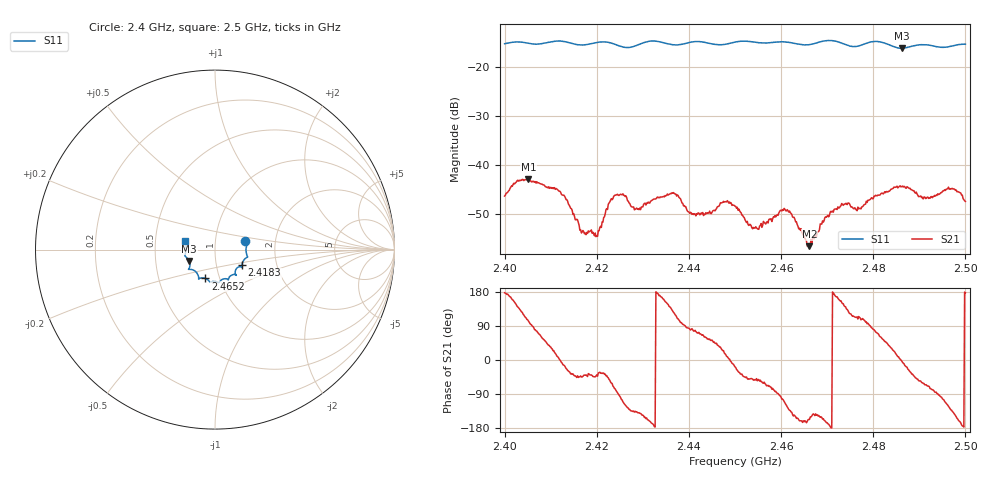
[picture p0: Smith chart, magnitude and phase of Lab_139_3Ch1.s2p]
# Hz S RI R 50
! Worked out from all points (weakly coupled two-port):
!   601 points, 2.4 GHz to 2.5 GHz, reference 50 ohm
!   highest |S21| = -42.86 dB at 2.4052 GHz (marker M1); lowest = -56.6 dB at 2.4662 GHz (marker M2)
!   lowest |S11| = -16.1 dB at 2.4862 GHz (marker M3), VSWR 1.37, Z = 37.2 - j4.86 ohm
!   |S11| at or under -10 dB: start of sweep to end of sweep
!   S12 and S22 are empty: the file has one direction only
!   S11 on the Smith chart (normalised r, x): 2.4 GHz: 1.40, +0.13; 2.4183 GHz: 1.33, -0.24; 2.4652 GHz: 0.85, -0.28; 2.5 GHz: 0.71, +0.07
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2.4e9  0.1682 0.0465  -0.00483 0.000216  0 0  0 0
2.405167e9  0.1753 0.0174  -0.00159 0.00702  0 0  0 0
2.411667e9  0.1818 -0.0403  0.00547 0.000623  0 0  0 0
2.416667e9  0.1551 -0.0678  0.00143 -0.00143  0 0  0 0
2.418333e9  0.1499 -0.0865  0.00166 -0.00125  0 0  0 0
2.42e9  0.1504 -0.0985  0.00147 -0.00119  0 0  0 0
2.424167e9  0.1413 -0.0955  0.000832 -0.00486  0 0  0 0
2.428667e9  0.1126 -0.1247  -0.00264 -0.0025  0 0  0 0
2.433333e9  0.1174 -0.1416  -0.00462 0.000457  0 0  0 0
2.437167e9  0.0894 -0.1443  -0.00233 0.00448  0 0  0 0
2.441167e9  0.0744 -0.1677  0.00074 0.0031  0 0  0 0
2.45e9  0.0257 -0.1797  0.00362 -0.00118  0 0  0 0
2.454667e9  0.0103 -0.1797  0.00149 -0.00173  0 0  0 0
2.461167e9  -0.0299 -0.179  -0.00169 -0.00296  0 0  0 0
2.465167e9  -0.0543 -0.1609  -0.00168 -0.0006  0 0  0 0
2.466167e9  -0.0653 -0.1578  -0.00137 -0.000581  0 0  0 0
2.466667e9  -0.0707 -0.1575  -0.00135 -0.000849  0 0  0 0
2.471167e9  -0.0911 -0.1638  -0.0034 2.16e-05  0 0  0 0
2.483333e9  -0.1411 -0.0967  0.00422 0.00338  0 0  0 0
2.486167e9  -0.1432 -0.0637  0.00603 -0.000224  0 0  0 0
2.497167e9  -0.1632 0.0285  -0.00415 -0.00404  0 0  0 0
2.5e9  -0.1662 0.0474  -0.00425 0.000201  0 0  0 0
